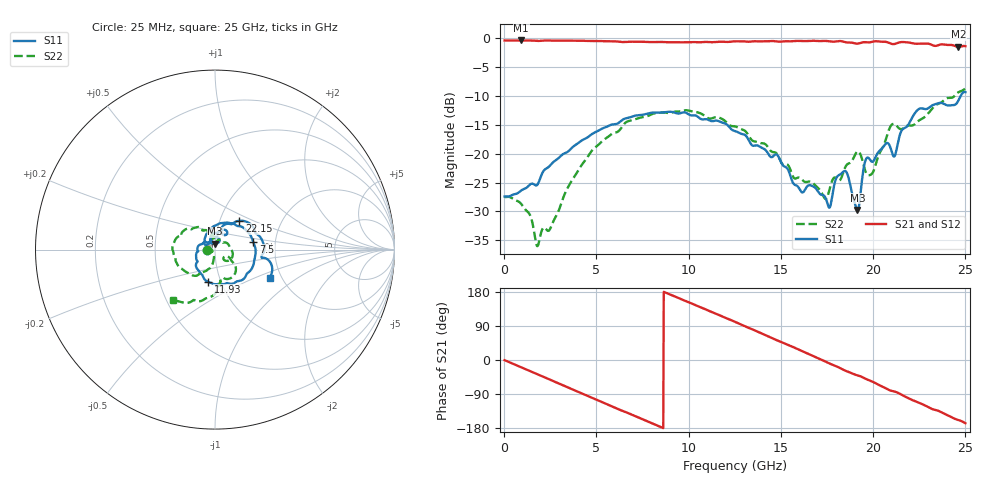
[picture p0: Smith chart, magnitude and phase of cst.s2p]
! RG_ts6_sw_pwr: Finite board 24 × 16 mm, ThunderScope stack, via F → In3 (stub to B) through In1 GND / In2 PWR / In4 GND, four GND vias at 1 mm joined to In1 and In4 (openings in In2)
! stackup: ThunderScope Rev5.3 6-layer with the In2 plane
! ports: 1 F, 2 In3
! CST Studio Suite 2025.5 Release from 2025-05-30, time domain (FIT, hexahedral, PBA), 296700 mesh cells, 72 s
! mesh: {'lpw': 20, 'lpb': 20, 'minstep': 0.0, 'ratio': 20}; ports: port 1 (face); port 2 (face)
! interpolated from CST's 1001 samples to the case grid
# Hz S RI R 50
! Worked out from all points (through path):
!   1000 points, 25 MHz to 25 GHz, reference 50 ohm
!   highest |S21| = -0.38 dB at 925 MHz (marker M1); lowest = -1.5 dB at 24.62 GHz (marker M2)
!   group delay of S21, straight-line fit = 58.4 ps
!   lowest |S11| = -29.8 dB at 19.15 GHz (marker M3), VSWR 1.07, Z = 50 + j3.25 ohm
!   |S11| at or under -10 dB: start of sweep to 24.74 GHz
!   |S22| runs from -36.0 to -8.7 dB; largest |S21 - S12| = 0.0016
!   S11 on the Smith chart (normalised r, x): 25 MHz: 0.92, +0.00; 7.5 GHz: 1.53, +0.14; 11.93 GHz: 0.87, -0.32; 22.15 GHz: 1.24, +0.42; 25 GHz: 1.74, -0.61
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2.5e7  -0.0426 0.000322  0.9576 -0.00877  0.9574 -0.00871  -0.042 4.42e-05
9.25e8  -0.0466 0.0113  0.9033 -0.3183  0.9032 -0.3185  -0.0364 0.00411
1.825e9  -0.0486 0.0247  0.7448 -0.5874  0.7452 -0.5875  -0.0148 -0.00585
4.2e9  -0.00784 0.1297  0.0333 -0.9511  0.0331 -0.9511  -0.0132 -0.0786
5.7e9  0.0983 0.1453  -0.4635 -0.821  -0.4637 -0.8212  -0.0668 -0.1261
7.5e9  0.2129 0.0435  -0.8556 -0.372  -0.8556 -0.3718  -0.171 -0.1173
8.35e9  0.2232 -0.0394  -0.9241 -0.0985  -0.9242 -0.0987  -0.2101 -0.0812
1.015e10  0.1206 -0.1778  -0.796 0.4703  -0.7957 0.4708  -0.2309 0.0317
1.1925e10  -0.0376 -0.18  -0.358 0.8602  -0.3579 0.8596  -0.1566 0.1158
1.2525e10  -0.0744 -0.138  -0.1684 0.9262  -0.1689 0.9256  -0.1263 0.1169
1.44e10  -0.0946 -0.00999  0.4636 0.8232  0.4645 0.8233  -0.0386 0.1006
1.6675e10  -0.0264 0.0456  0.9295 0.2013  0.9286 0.2005  0.00275 0.0565
1.7625e10  -0.0108 0.0323  0.929 -0.1478  0.9294 -0.149  0.0105 0.047
1.8475e10  0.0109 0.0699  0.8201 -0.4324  0.821 -0.4313  0.0661 0.0366
1.915e10  0.00102 0.0325  0.6844 -0.5834  0.6851 -0.5848  0.0977 -0.0372
1.9575e10  -0.0164 0.0849  0.604 -0.7005  0.6054 -0.7002  0.0472 -0.0524
1.9875e10  0.015 0.0853  0.5304 -0.7602  0.5291 -0.7596  0.0524 -0.0397
2.085e10  0.067 0.1008  0.1766 -0.8968  0.1751 -0.8973  0.1168 -0.1094
2.115e10  0.043 0.0842  0.1056 -0.8854  0.1072 -0.8855  0.0801 -0.162
2.215e10  0.1354 0.1607  -0.2536 -0.8682  -0.2522 -0.8675  0.0289 -0.1737
2.4625e10  0.2854 -0.05  -0.7851 -0.3108  -0.7858 -0.3096  -0.1679 -0.2966
2.5e10  0.3042 -0.1556  -0.8312 -0.1938  -0.832 -0.1944  -0.2367 -0.2789
